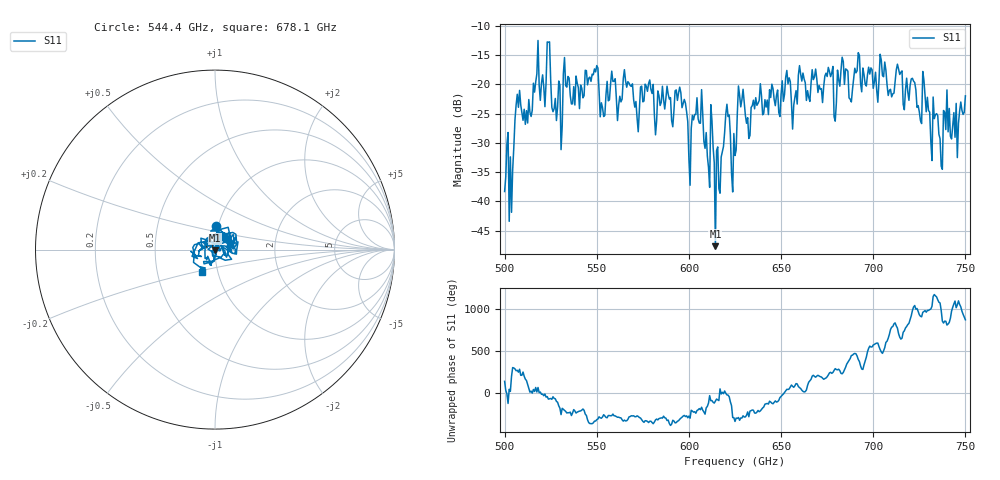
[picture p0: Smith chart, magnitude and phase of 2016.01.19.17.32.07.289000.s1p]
!Created with skrf (http://scikit-rf.org).
# GHz S RI R 50.0
!freq ReS11 ImS11
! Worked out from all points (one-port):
!   401 points, 500 GHz to 750 GHz, reference 50 ohm
!   lowest |S11| = -47.6 dB at 614.4 GHz (marker M1), VSWR 1.01, Z = 49.9 - j0.406 ohm
!   |S11| at or under -10 dB: start of sweep to end of sweep
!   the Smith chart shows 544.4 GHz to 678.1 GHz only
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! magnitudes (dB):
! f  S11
! 500 GHz  -38.3
! 503.8 GHz  -41.8
! 506.9 GHz  -21.7
! 513.8 GHz  -24.8
! 516.9 GHz  -19.6
! 523.8 GHz  -12.8
! 526.9 GHz  -24.2
! 531.2 GHz  -27.2
! 549.4 GHz  -17.9
! 553.1 GHz  -24.0
! 558.8 GHz  -19.5
! 562.5 GHz  -22.0
! 593.8 GHz  -22.8
! 605.6 GHz  -26.6
! 614.4 GHz  -47.6
! 620.6 GHz  -23.4
! 625 GHz  -32.2
! 628.1 GHz  -23.9
! 631.9 GHz  -25.7
! 653.8 GHz  -19.9
! 656.2 GHz  -27.6
! 660.6 GHz  -18.3
! 687.5 GHz  -22.6
! 691.2 GHz  -17.7
! 718.8 GHz  -21.3
! 728.1 GHz  -22.0
! 736.2 GHz  -29.3
! 750 GHz  -22.0
